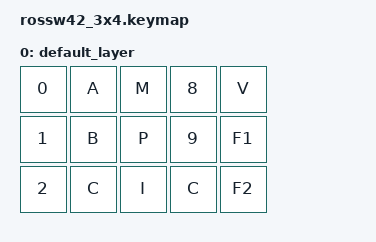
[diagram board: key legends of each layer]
/*
 * Copyright (c) 2024 rossw42
 *
 * SPDX-License-Identifier: MIT
 */

#include <behaviors.dtsi>
#include <dt-bindings/zmk/keys.h>

/ {
    keymap {
        compatible = "zmk,keymap";

        default_layer {
            bindings = <
                &kp N0    &kp A     &kp M     &kp N8    &kp V
                &kp N1    &kp B     &kp P     &kp N9    &kp F1
                &kp N2    &kp C     &kp I     &kp C     &kp F2
            >;
        };
    };
};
